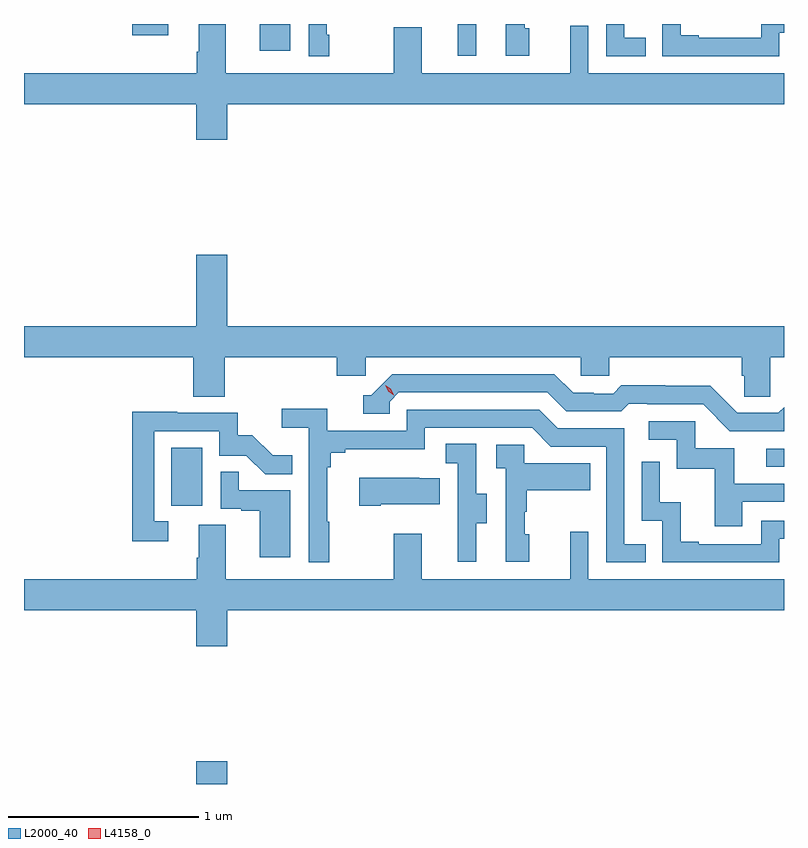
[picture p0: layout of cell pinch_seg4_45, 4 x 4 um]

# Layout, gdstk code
import gdstk
lib = gdstk.Library(unit=1e-6, precision=1e-09)
def R(c, l, rs):  # rectangles x0, y0, x1, y1
    for r in rs: c.add(gdstk.rectangle(r[:2], r[2:], *l))
def P(c, l, *ps):  # polygons
    for p in ps: c.add(gdstk.Polygon(p, *l))
L2000_40 = (2000, 40)
L4158_0 = (4158, 0)

pinch_seg4_45 = lib.new_cell('pinch_seg4_45')
R(pinch_seg4_45, L2000_40, [(1142.03,815.886,1142.194,816.007), (1141.898,817.35,1142.062,817.657), (1145.031,817.557,1145.124,817.65), (1143.407,819.72,1143.505,819.886), (1142.366,819.744,1142.524,819.886), (1141.693,819.828,1141.882,819.886)])
P(pinch_seg4_45, L2000_40, [(1145.1,819.84),(1145.124,819.84),(1145.124,819.886),(1145.004,819.886),(1145.004,819.813),(1144.675,819.813),(1144.675,819.826),(1144.58,819.826),(1144.58,819.886),(1144.482,819.886),(1144.482,819.717),(1145.1,819.717)],
  [(1143.784,819.864),(1143.759,819.864),(1143.759,819.886),(1143.66,819.886),(1143.66,819.72),(1143.784,819.72)],
  [(1142.731,819.829),(1142.718,819.829),(1142.718,819.886),(1142.622,819.886),(1142.622,819.717),(1142.731,819.717)],
  [(1144.397,819.813),(1144.284,819.813),(1144.284,819.886),(1144.188,819.886),(1144.188,819.717),(1144.397,819.717)],
  [(1142.194,819.464),(1145.124,819.464),(1145.124,819.628),(1144.095,819.628),(1144.095,819.877),(1143.998,819.877),(1143.998,819.628),(1143.217,819.628),(1143.217,819.868),(1143.07,819.868),(1143.07,819.628),(1142.185,819.628),(1142.185,819.886),(1142.045,819.886),(1142.045,819.74),(1142.033,819.74),(1142.033,819.628),(1141.124,819.628),(1141.124,819.464),(1142.03,819.464),(1142.03,819.276),(1142.194,819.276)],
  [(1142.18,818.132),(1142.771,818.132),(1142.771,818.034),(1142.922,818.034),(1142.922,818.132),(1144.053,818.132),(1144.053,818.034),(1144.203,818.034),(1144.203,818.132),(1144.901,818.132),(1144.901,818.034),(1144.915,818.034),(1144.915,817.924),(1145.052,817.924),(1145.052,818.132),(1145.124,818.132),(1145.124,818.296),(1142.194,818.296),(1142.194,818.671),(1142.03,818.671),(1142.03,818.296),(1141.124,818.296),(1141.124,818.132),(1142.015,818.132),(1142.015,817.924),(1142.18,817.924)],
  [(1145.124,817.869),(1145.094,817.839),(1144.878,817.839),(1144.736,817.981),(1144.5,817.981),(1144.5,817.984),(1144.267,817.984),(1144.225,817.941),(1144.122,817.941),(1144.122,817.944),(1144.015,817.944),(1143.916,818.043),(1143.063,818.043),(1142.952,817.932),(1142.909,817.932),(1142.909,817.836),(1143.048,817.836),(1143.048,817.899),(1143.096,817.947),(1143.879,817.947),(1143.978,817.848),(1144.267,817.848),(1144.306,817.887),(1144.405,817.887),(1144.405,817.884),(1144.698,817.884),(1144.839,817.743),(1145.124,817.743)],
  [(1142.731,817.265),(1142.719,817.265),(1142.719,817.553),(1142.738,817.553),(1142.738,817.63),(1142.815,817.63),(1142.815,817.649),(1143.234,817.649),(1143.234,817.761),(1143.798,817.761),(1143.897,817.662),(1144.188,817.662),(1144.188,817.053),(1144.397,817.053),(1144.397,817.149),(1144.284,817.149),(1144.284,817.758),(1143.934,817.758),(1143.835,817.857),(1143.138,817.857),(1143.138,817.746),(1142.72,817.746),(1142.72,817.862),(1142.481,817.862),(1142.481,817.76),(1142.622,817.76),(1142.622,817.053),(1142.731,817.053)],
  [(1141.882,817.269),(1141.809,817.269),(1141.809,817.743),(1142.151,817.743),(1142.151,817.614),(1142.295,817.614),(1142.393,817.516),(1142.537,817.516),(1142.537,817.615),(1142.433,817.615),(1142.326,817.722),(1142.25,817.722),(1142.25,817.839),(1141.931,817.839),(1141.931,817.844),(1141.693,817.844),(1141.693,817.164),(1141.882,817.164)],
  [(1144.903,817.371),(1145.124,817.371),(1145.124,817.467),(1144.861,817.467),(1144.861,817.653),(1144.656,817.653),(1144.656,817.794),(1144.413,817.794),(1144.413,817.698),(1144.56,817.698),(1144.56,817.545),(1144.759,817.545),(1144.759,817.242),(1144.903,817.242)],
  [(1143.505,817.258),(1143.559,817.258),(1143.559,817.413),(1143.504,817.413),(1143.504,817.676),(1143.345,817.676),(1143.345,817.573),(1143.408,817.573),(1143.408,817.269),(1143.407,817.269),(1143.407,817.056),(1143.505,817.056)],
  [(1143.784,817.2),(1143.759,817.2),(1143.759,817.319),(1143.769,817.319),(1143.769,817.433),(1144.103,817.433),(1144.103,817.573),(1143.756,817.573),(1143.756,817.671),(1143.609,817.671),(1143.609,817.547),(1143.66,817.547),(1143.66,817.056),(1143.784,817.056)],
  [(1145.1,817.176),(1145.124,817.176),(1145.124,817.272),(1145.004,817.272),(1145.004,817.149),(1144.675,817.149),(1144.675,817.162),(1144.58,817.162),(1144.58,817.37),(1144.47,817.37),(1144.47,817.582),(1144.374,817.582),(1144.374,817.272),(1144.482,817.272),(1144.482,817.053),(1145.1,817.053)],
  [(1142.524,817.431),(1142.255,817.431),(1142.255,817.529),(1142.16,817.529),(1142.16,817.335),(1142.267,817.335),(1142.267,817.323),(1142.366,817.323),(1142.366,817.08),(1142.524,817.08)],
  [(1143.001,817.358),(1143.311,817.358),(1143.311,817.495),(1143.203,817.495),(1143.203,817.498),(1142.889,817.498),(1142.889,817.351),(1143.001,817.351)],
  [(1142.194,816.8),(1145.124,816.8),(1145.124,816.964),(1144.095,816.964),(1144.095,817.213),(1143.998,817.213),(1143.998,816.964),(1143.217,816.964),(1143.217,817.204),(1143.07,817.204),(1143.07,816.964),(1142.185,816.964),(1142.185,817.25),(1142.045,817.25),(1142.045,817.076),(1142.033,817.076),(1142.033,816.964),(1141.124,816.964),(1141.124,816.8),(1142.03,816.8),(1142.03,816.612),(1142.194,816.612)])
P(pinch_seg4_45, L4158_0, [(1143.071,817.932),(1143.04,817.952),(1143.024,817.984),(1143.024,817.985),(1143.024,817.985),(1143.055,817.965),(1143.071,817.932),(1143.071,817.932)])

lib.write_gds('pinch_seg4_45.gds')
